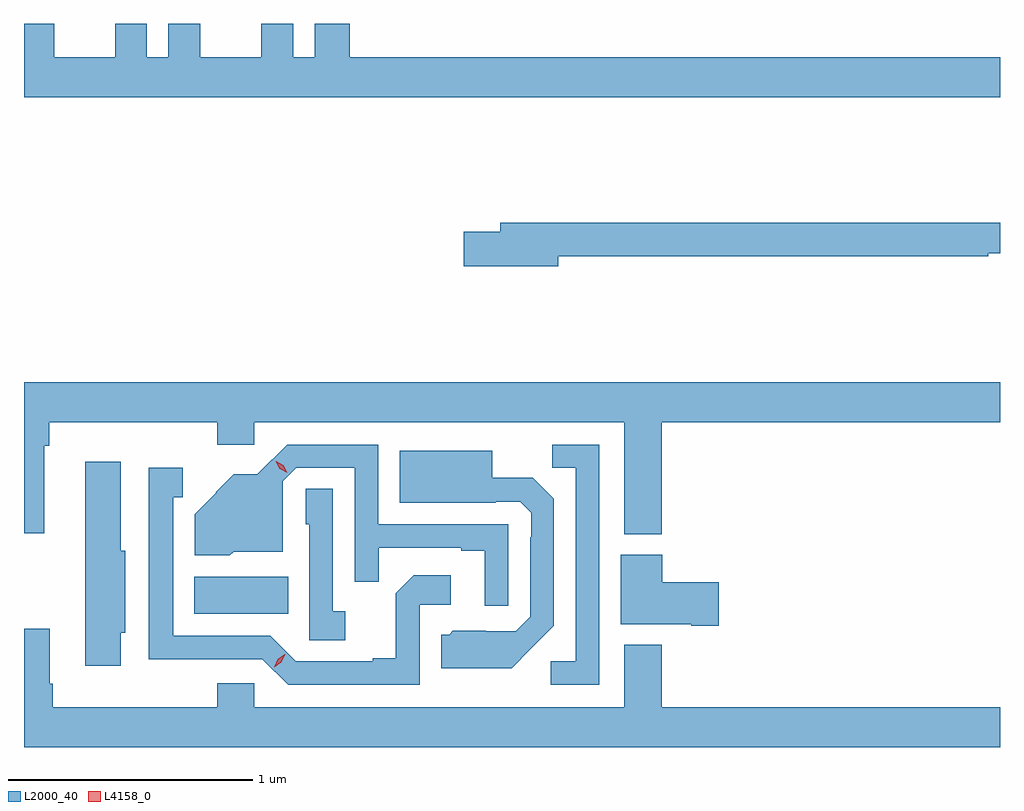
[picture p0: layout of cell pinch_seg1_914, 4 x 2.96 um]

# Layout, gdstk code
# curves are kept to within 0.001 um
import gdstk
lib = gdstk.Library(unit=1e-6, precision=1e-09)
def R(c, l, rs):  # rectangles x0, y0, x1, y1
    for r in rs: c.add(gdstk.rectangle(r[:2], r[2:], *l))
def P(c, l, *ps):  # polygons
    for p in ps: c.add(gdstk.Polygon(p, *l))
L2000_40 = (2000, 40)
L4158_0 = (4158, 0)

pinch_seg1_914 = lib.new_cell('pinch_seg1_914')
R(pinch_seg1_914, L2000_40, [(231.053,545.618,231.44,545.77)])
P(pinch_seg1_914, L2000_40, [(234.356,547.9),(231.692,547.9),(231.692,548.036),(231.548,548.036),(231.548,547.9),(231.46,547.9),(231.46,548.036),(231.329,548.036),(231.329,547.9),(231.079,547.9),(231.079,548.036),(230.948,548.036),(230.948,547.9),(230.86,547.9),(230.86,548.036),(230.729,548.036),(230.729,547.9),(230.479,547.9),(230.479,548.036),(230.356,548.036),(230.356,547.736),(234.356,547.736)],
  [(232.546,547.084),(234.308,547.084),(234.308,547.097),(234.356,547.097),(234.356,547.22),(232.307,547.22),(232.307,547.184),(232.158,547.184),(232.158,547.042),(232.546,547.042)],
  [(230.356,545.949),(230.44,545.949),(230.44,546.308),(230.459,546.308),(230.459,546.404),(231.149,546.404),(231.149,546.311),(231.3,546.311),(231.3,546.404),(232.817,546.404),(232.817,545.945),(232.97,545.945),(232.97,546.404),(234.356,546.404),(234.356,546.568),(230.356,546.568)],
  [(232.341,545.985),(231.807,545.985),(231.807,546.312),(231.434,546.312),(231.312,546.19),(231.216,546.19),(231.142,546.116),(231.144,546.115),(231.056,546.027),(231.056,545.858),(231.2,545.858),(231.215,545.873),(231.417,545.873),(231.417,546.162),(231.471,546.216),(231.711,546.216),(231.711,545.75),(231.809,545.75),(231.809,545.889),(232.148,545.889),(232.148,545.877),(232.244,545.877),(232.244,545.652),(232.341,545.652)],
  [(232.713,546.312),(232.521,546.312),(232.521,546.217),(232.617,546.217),(232.617,545.424),(232.515,545.424),(232.515,545.328),(232.713,545.328)],
  [(232.435,545.477),(232.527,545.57),(232.527,546.09),(232.441,546.176),(232.276,546.176),(232.276,546.286),(231.896,546.286),(231.896,546.074),(232.289,546.074),(232.289,546.078),(232.389,546.078),(232.434,546.033),(232.434,545.933),(232.431,545.933),(232.431,545.607),(232.371,545.547),(232.114,545.548),(232.098,545.532),(232.067,545.532),(232.067,545.396),(232.355,545.396)],
  [(230.752,545.541),(230.77,545.541),(230.77,545.877),(230.752,545.877),(230.752,546.241),(230.606,546.241),(230.606,545.406),(230.752,545.406)],
  [(231.978,545.655),(232.105,545.655),(232.105,545.776),(231.954,545.776),(231.879,545.702),(231.879,545.437),(231.785,545.437),(231.785,545.424),(231.47,545.424),(231.365,545.529),(230.968,545.529),(230.968,546.096),(231.006,546.096),(231.006,546.217),(230.867,546.217),(230.867,545.432),(231.333,545.433),(231.438,545.328),(231.978,545.328)],
  [(231.673,545.628),(231.621,545.628),(231.621,546.13),(231.51,546.13),(231.51,545.985),(231.525,545.985),(231.525,545.509),(231.673,545.509)],
  [(233.203,545.747),(232.972,545.747),(232.972,545.86),(232.802,545.86),(232.802,545.576),(233.09,545.576),(233.09,545.569),(233.203,545.569)],
  [(234.356,545.236),(232.97,545.236),(232.97,545.491),(232.817,545.491),(232.817,545.236),(231.3,545.236),(231.3,545.334),(231.149,545.334),(231.149,545.236),(230.474,545.236),(230.474,545.332),(230.461,545.332),(230.461,545.557),(230.356,545.557),(230.356,545.072),(234.356,545.072)])
P(pinch_seg1_914, L4158_0, [(231.435,546.196),(231.405,546.213),(231.388,546.243),(231.388,546.243),(231.389,546.243),(231.419,546.227),(231.435,546.197),(231.435,546.196)],
  [(231.381,545.4),(231.381,545.4),(231.396,545.433),(231.425,545.453),(231.426,545.453),(231.426,545.453),(231.411,545.42),(231.381,545.4)])

lib.write_gds('pinch_seg1_914.gds')
